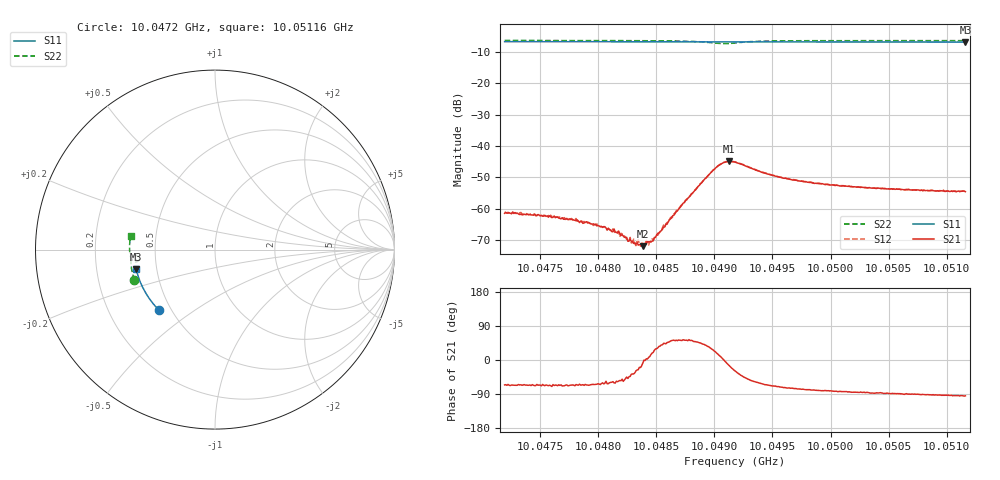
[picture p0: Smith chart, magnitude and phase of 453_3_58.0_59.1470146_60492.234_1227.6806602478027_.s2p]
#  HZ  S  RI  R  50.00
! Rohde & Schwarz Vector Network Analyzer
! Rohde-Schwarz,ZNB20-2Port,1311601062101988,3.16
! Created: UTC 3/21/2024, 1:10:39 AM
! freq[Hz]  re:S11  im:S11  re:S21  im:S21  re:S12  im:S12  re:S22  im:S22
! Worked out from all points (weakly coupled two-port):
!   401 points, 10.0472 GHz to 10.05116 GHz, reference 50 ohm
!   highest |S21| = -44.91 dB at 10.04913 GHz (marker M1); lowest = -71.9 dB at 10.04839 GHz (marker M2)
!   lowest |S11| = -6.9 dB at 10.05116 GHz (marker M3), VSWR 2.65, Z = 19.1 - j5.25 ohm
!   |S11| at or under -10 dB: nowhere
!   |S22| runs from -7.4 to -6.4 dB; largest |S21 - S12| = 0.00039
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1.0047196e10  -0.3147 -0.3341  0.000347 -0.000769  0.000427 -0.000785  -0.4489 -0.1684
1.0047285e10  -0.3189 -0.3299  0.000344 -0.000798  0.000398 -0.00076  -0.4509 -0.1628
1.0047335e10  -0.3211 -0.3276  0.00034 -0.000741  0.000373 -0.000788  -0.4519 -0.1597
1.0047632e10  -0.3345 -0.313  0.00029 -0.000658  0.000332 -0.000662  -0.4575 -0.14
1.004786e10  -0.3443 -0.3014  0.000251 -0.000562  0.000279 -0.000569  -0.4615 -0.1246
1.004791e10  -0.3463 -0.2989  0.000247 -0.000556  0.000276 -0.00052  -0.4623 -0.1212
1.0047999e10  -0.35 -0.2944  0.000249 -0.000482  0.000296 -0.000482  -0.4635 -0.1147
1.0048158e10  -0.3564 -0.2862  0.000234 -0.000346  0.000236 -0.000345  -0.4655 -0.1035
1.0048306e10  -0.3622 -0.2783  0.000224 -0.000168  0.000279 -0.000171  -0.4671 -0.0921
1.0048326e10  -0.3629 -0.2773  0.000238 -0.000131  0.000226 -0.000125  -0.467 -0.0907
1.0048386e10  -0.3653 -0.274  0.000251 -3.44e-05  0.000277 -3.52e-05  -0.4675 -0.0858
1.0048455e10  -0.3678 -0.2703  0.000288 7.23e-05  0.000281 8.75e-05  -0.4677 -0.0802
1.0048524e10  -0.3704 -0.2665  0.000334 0.000241  0.000312 0.000262  -0.4678 -0.0741
1.0048693e10  -0.3764 -0.2572  0.000598 0.000784  0.000554 0.000824  -0.4659 -0.0585
1.004897e10  -0.3859 -0.2415  0.00322 0.00193  0.0031 0.00213  -0.4408 -0.0331
1.004905e10  -0.3881 -0.2371  0.00494 0.0009  0.00495 0.00124  -0.4258 -0.0404
1.0049129e10  -0.3907 -0.2327  0.00549 -0.00145  0.00558 -0.0011  -0.4244 -0.0586
1.0049178e10  -0.3923 -0.2302  0.00486 -0.00267  0.00505 -0.00238  -0.4325 -0.0663
1.0049495e10  -0.4022 -0.2117  0.00127 -0.00319  0.00147 -0.00311  -0.4687 -0.0454
1.0049842e10  -0.4119 -0.1911  0.000476 -0.00254  0.000662 -0.00252  -0.4752 -0.0156
1.0050506e10  -0.4275 -0.1504  5.37e-05 -0.00206  0.000188 -0.00207  -0.4752 0.0328
1.005116e10  -0.4387 -0.1092  -0.000151 -0.00187  -3.04e-05 -0.00189  -0.4699 0.0769
